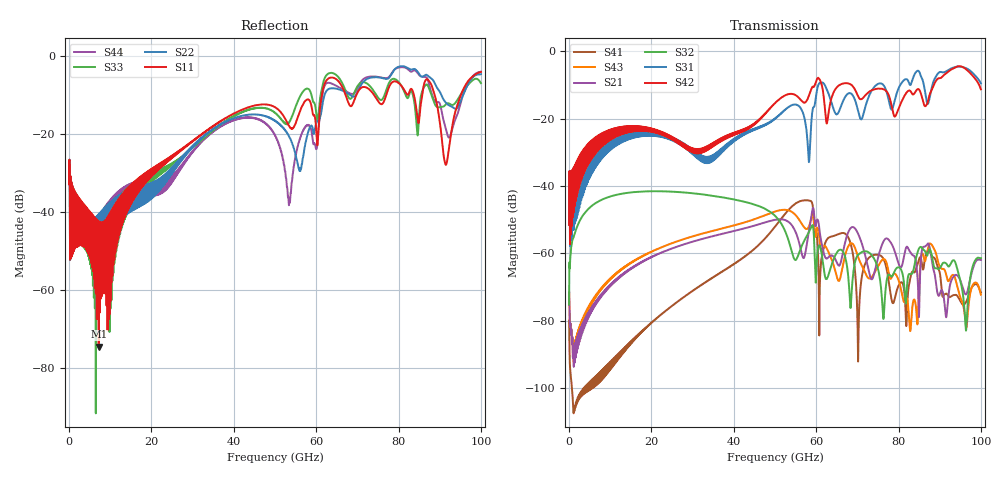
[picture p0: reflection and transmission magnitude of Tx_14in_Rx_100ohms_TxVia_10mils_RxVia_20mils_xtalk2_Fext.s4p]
! Info: Touchstone file created by Circ.  Input file=Tx_14in_Rx_100ohms_TxVia_10mils_RxVia_20mils.circ
# Hz S RI R 50
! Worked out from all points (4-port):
!   10000 points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, 10 MHz to 100 GHz, reference 50 ohm
!   strongest paths, dB at 10 MHz, 25.01 GHz, 50.01 GHz, 75.01 GHz, 100 GHz:
!     S42: -51.6, -26.2, -15.4, -11.1, -11.3
!     S31: -51.6, -26.5, -19.9, -9.7, -9.5
!     S32: -75.2, -41.7, -48.9, -64.6, -61.5
!     S21: -71.6, -58.5, -50.1, -61.4, -62.0
!     S43: -71.6, -57.0, -47.6, -63.9, -72.3
!     S41: -80.0, -75.6, -52.1, -60.4, -71.6
!   lowest |S11| = -74.6 dB at 7.2 GHz (marker M1), VSWR 1.00, Z = 50 + j0.0165 ohm
!   |S11| at or under -10 dB: start of sweep to 61.37 GHz; 74.15 GHz to 76.98 GHz (2.838 GHz wide, 3.76 % of centre); 88.81 GHz to 95.1 GHz (6.281 GHz wide, 6.83 % of centre)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
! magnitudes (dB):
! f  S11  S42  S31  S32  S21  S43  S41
! 10 MHz  -32.8  -51.6  -51.6  -75.2  -71.6  -71.6  -80.0
! 7.2 GHz  -74.6  -26.6  -28.2  -44.6  -74.0  -71.8  -95.7
! 57.13 GHz  -11.7  -15.3  -19.7  -56.2  -61.1  -52.4  -44.3
! 70.23 GHz  -8.9  -13.5  -18.0  -60.4  -54.3  -61.3  -88.1
! 87.22 GHz  -6.1  -14.5  -15.4  -59.5  -57.1  -58.2  -59.0
! 91.49 GHz  -27.8  -6.7  -6.0  -62.9  -78.8  -66.0  -72.0
! 100 GHz  -4.0  -11.3  -9.5  -61.5  -62.0  -72.3  -71.6
